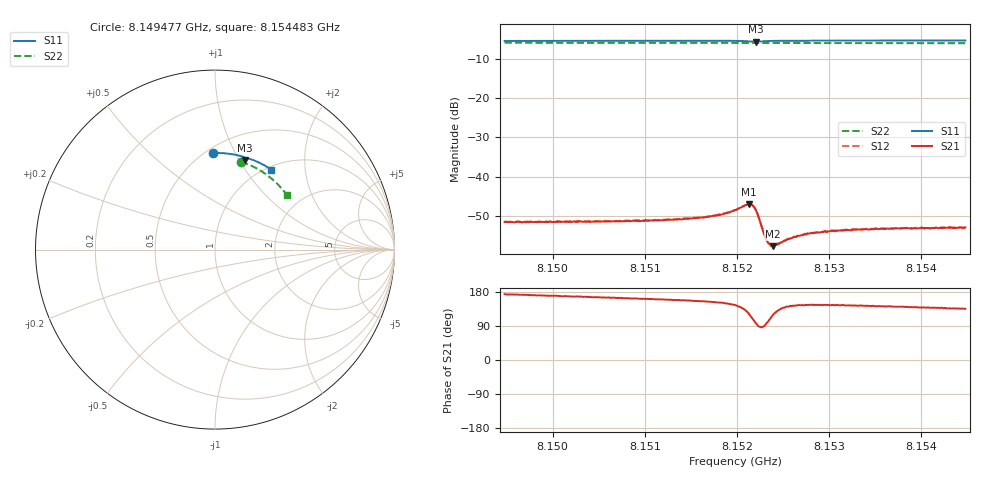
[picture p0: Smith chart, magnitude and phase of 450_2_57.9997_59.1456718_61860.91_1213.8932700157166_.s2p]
#  HZ  S  RI  R  50.00
! Rohde & Schwarz Vector Network Analyzer
! Rohde-Schwarz,ZNB20-2Port,1311601062101988,3.16
! Created: UTC 3/21/2024, 1:10:25 AM
! freq[Hz]  re:S11  im:S11  re:S21  im:S21  re:S12  im:S12  re:S22  im:S22
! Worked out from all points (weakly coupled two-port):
!   401 points, 8.149477 GHz to 8.154483 GHz, reference 50 ohm
!   highest |S21| = -47.03 dB at 8.15213 GHz (marker M1); lowest = -57.8 dB at 8.152393 GHz (marker M2)
!   lowest |S11| = -5.6 dB at 8.152205 GHz (marker M3), VSWR 3.23, Z = 38.4 + j53.1 ohm
!   |S11| at or under -10 dB: nowhere
!   |S22| runs from -6.0 to -5.8 dB; largest |S21 - S12| = 0.00012
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8.1494771e9  -0.012 0.5372  -0.00262 0.000286  -0.00264 0.000354  0.1457 0.4889
8.1503156e9  0.0465 0.5368  -0.00259 0.000601  -0.00259 0.000641  0.1962 0.4698
8.151154e9  0.1046 0.53  -0.00261 0.000946  -0.00259 0.00101  0.244 0.4454
8.1516545e9  0.1397 0.5223  -0.00272 0.00131  -0.00274 0.00135  0.2712 0.4284
8.1518422e9  0.1535 0.518  -0.00288 0.00159  -0.00289 0.00168  0.2811 0.4216
8.1519799e9  0.1639 0.5136  -0.00307 0.00214  -0.00305 0.00218  0.2883 0.4167
8.1520925e9  0.1716 0.5062  -0.00284 0.00323  -0.00281 0.00329  0.2939 0.4119
8.15213e9  0.1724 0.5025  -0.00236 0.00377  -0.00234 0.00382  0.2958 0.4105
8.1521676e9  0.171 0.4995  -0.00152 0.00406  -0.00142 0.00408  0.2974 0.4092
8.1522051e9  0.1683 0.4992  -0.000496 0.00372  -0.000436 0.00379  0.2991 0.4077
8.1522302e9  0.1674 0.5009  1.16e-06 0.00319  1.86e-05 0.00322  0.3003 0.4068
8.1522927e9  0.1699 0.5057  3.1e-05 0.00188  4.81e-05 0.00193  0.3035 0.4049
8.1523177e9  0.1721 0.5068  -0.000157 0.00157  -0.00011 0.00158  0.3047 0.4038
8.1523553e9  0.1756 0.5077  -0.000419 0.00133  -0.000394 0.00134  0.3068 0.4025
8.1523928e9  0.1791 0.5078  -0.000628 0.00113  -0.000617 0.00117  0.3084 0.4009
8.1524304e9  0.1824 0.5077  -0.00082 0.00105  -0.000842 0.00109  0.3105 0.3993
8.1526056e9  0.1961 0.5047  -0.00134 0.00099  -0.00132 0.00101  0.3191 0.3923
8.1528183e9  0.211 0.4996  -0.00159 0.00108  -0.00157 0.00108  0.3294 0.3832
8.153031e9  0.2251 0.4939  -0.00168 0.00117  -0.00167 0.0012  0.3391 0.3742
8.1532062e9  0.2364 0.489  -0.0017 0.00123  -0.00171 0.00125  0.347 0.3665
8.1536567e9  0.2648 0.4752  -0.00168 0.00133  -0.00168 0.00136  0.3665 0.3458
8.1544826e9  0.3138 0.4457  -0.00159 0.00159  -0.00159 0.00158  0.3989 0.3055
